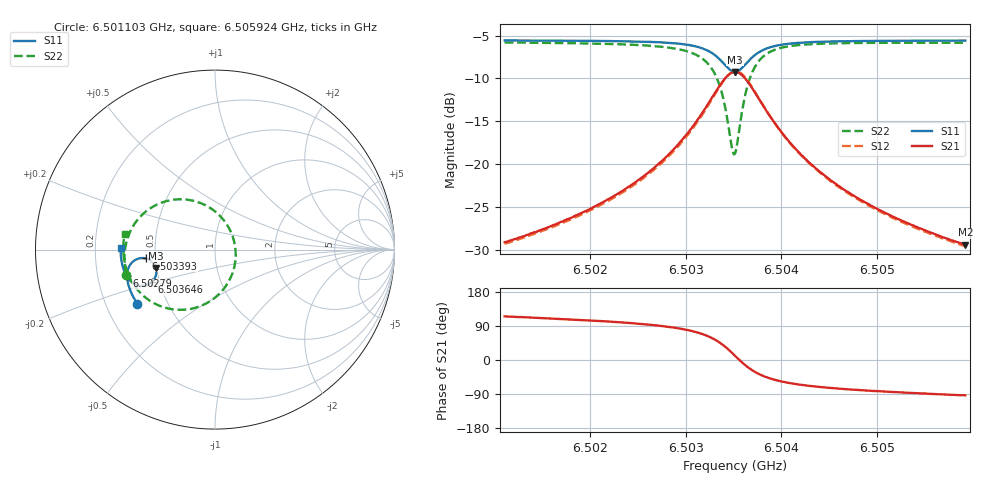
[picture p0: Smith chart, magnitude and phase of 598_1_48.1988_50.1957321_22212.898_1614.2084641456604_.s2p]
#  HZ  S  RI  R  50.00
! Rohde & Schwarz Vector Network Analyzer
! Rohde-Schwarz,ZNB20-2Port,1311601062101988,3.16
! Created: UTC 3/20/2024, 12:02:52 PM
! freq[Hz]  re:S11  im:S11  re:S21  im:S21  re:S12  im:S12  re:S22  im:S22
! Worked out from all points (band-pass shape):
!   401 points, 6.501103 GHz to 6.505924 GHz, reference 50 ohm
!   highest |S21| = -9.24 dB at 6.503514 GHz (marker M1); lowest = -29.4 dB at 6.505924 GHz (marker M2)
!   |S21| within 3 dB of the highest: 6.503273 GHz to 6.503755 GHz (482.3 kHz wide, 0.00742 % of centre)
!   lowest |S11| = -9.2 dB at 6.503514 GHz (marker M3), VSWR 2.06, Z = 24.7 - j5.71 ohm
!   |S11| at or under -10 dB: nowhere
!   |S22| runs from -18.9 to -5.8 dB; largest |S21 - S12| = 0.012
!   S11 on the Smith chart (normalised r, x): 6.501103 GHz: 0.34, -0.28; 6.50279 GHz: 0.33, -0.13; 6.503393 GHz: 0.44, -0.05; 6.503646 GHz: 0.45, -0.19; 6.505924 GHz: 0.31, +0.01
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6.501103e9  -0.4329 -0.3006  -0.0149 0.0317  -0.0131 0.0318  -0.4933 -0.142
6.5019105e9  -0.4668 -0.2395  -0.014 0.05  -0.0116 0.0496  -0.5042 -0.0538
6.5023565e9  -0.482 -0.1988  -0.0107 0.0702  -0.00769 0.0691  -0.4996 0.012
6.502718e9  -0.4898 -0.1576  -0.00102 0.1008  0.0025 0.0984  -0.4782 0.0878
6.5027904e9  -0.4903 -0.1475  0.00301 0.1097  0.00672 0.107  -0.4691 0.1074
6.5029953e9  -0.4863 -0.1141  0.025 0.1441  0.0284 0.1398  -0.4239 0.1752
6.5031519e9  -0.4711 -0.0817  0.065 0.1806  0.0676 0.1748  -0.3459 0.239
6.5032966e9  -0.4325 -0.052  0.1482 0.2094  0.1486 0.2036  -0.1946 0.2804
6.5033448e9  -0.4109 -0.0472  0.1914 0.208  0.1913 0.2028  -0.1187 0.2715
6.503393e9  -0.385 -0.0493  0.2409 0.1926  0.241 0.1884  -0.0338 0.2366
6.5034774e9  -0.3412 -0.0792  0.3207 0.1167  0.3233 0.1131  0.0936 0.0871
6.5035135e9  -0.3302 -0.1017  0.3387 0.067  0.3425 0.0623  0.1147 -0.00609
6.5035376e9  -0.3271 -0.1184  0.3422 0.0317  0.3466 0.0256  0.1126 -0.0707
6.5035738e9  -0.3291 -0.1429  0.3346 -0.0195  0.3388 -0.0278  0.0849 -0.1615
6.5036461e9  -0.3518 -0.1811  0.2873 -0.0971  0.2877 -0.1085  -0.0272 -0.2874
6.5037425e9  -0.3934 -0.2012  0.2074 -0.1412  0.2029 -0.1516  -0.1899 -0.3355
6.5038992e9  -0.4436 -0.194  0.1176 -0.1408  0.1106 -0.1464  -0.3531 -0.2907
6.5040679e9  -0.4732 -0.1727  0.0688 -0.1193  0.0625 -0.1219  -0.4326 -0.2227
6.504321e9  -0.496 -0.1415  0.0351 -0.0922  0.0303 -0.0927  -0.481 -0.1439
6.5046585e9  -0.5109 -0.1052  0.0163 -0.0688  0.0129 -0.0686  -0.5033 -0.0721
6.5051286e9  -0.5212 -0.0606  0.00526 -0.0503  0.00312 -0.0496  -0.5108 -0.00201
6.505924e9  -0.5265 0.00741  -0.00196 -0.0338  -0.00327 -0.033  -0.5038 0.0845
